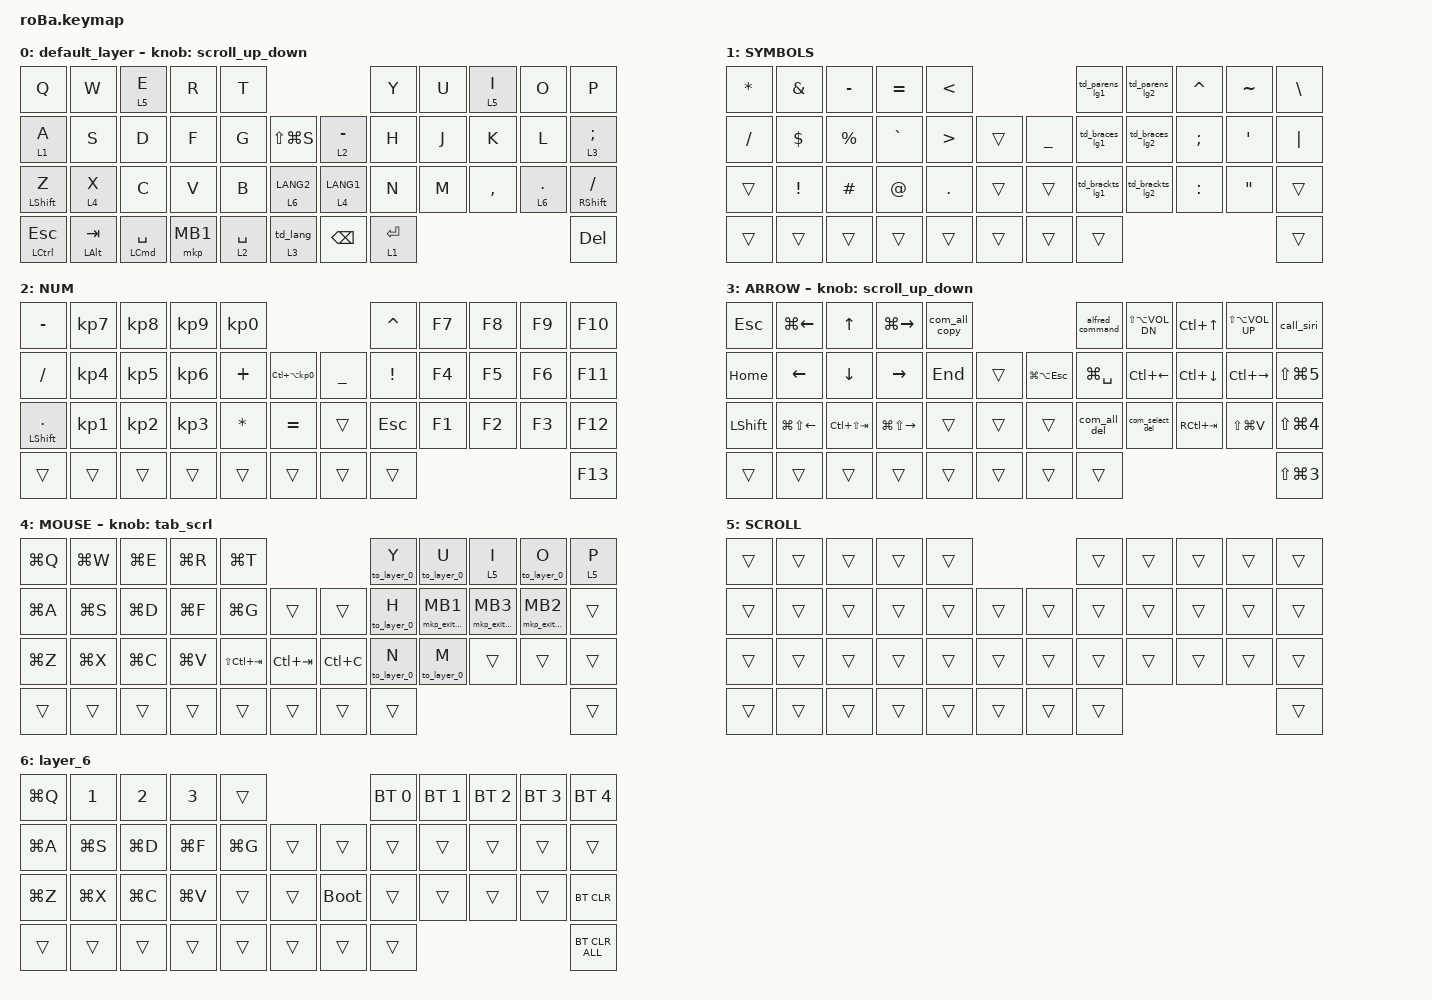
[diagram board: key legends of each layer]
#include <behaviors.dtsi>
#include <dt-bindings/zmk/bt.h>
#include <dt-bindings/zmk/keys.h>
#include <dt-bindings/zmk/pointing.h>

#define ZMK_POINTING_DEFAULT_SCRL_VAL 100
#define ZMK_MOUSE_DEFAULT_MOVE_VAL 3000 // 数値を大きくすると速くなる{あまり効果ないかも}

&mt {
    flavor = "balanced";
    quick-tap-ms = <0>;
};

&trackball {
    automouse-layer = <4>;
    scroll-layers = <5>;

    // arrows {
    //     layers = <3>;
    //     bindings =
    //         <&kp RIGHT_ARROW>,
    //         <&kp LEFT_ARROW>,
    //         <&kp UP_ARROW>,
    //         <&kp DOWN_ARROW>;
    //     tick = <10>;
    //     wait-ms = <5>;
    //     tap-ms = <5>;
    // };
};

/ {
    combos {
        compatible = "zmk,combos";

        tab {
            bindings = <&kp TAB>;
            key-positions = <11 12>;
        };

        shift_tab {
            bindings = <&kp LS(TAB)>;
            key-positions = <12 13>;
        };

        eq {
            bindings = <&kp EQUAL>;
            key-positions = <24 25>;
        };

        esc {
            bindings = <&kp ESC>;
            key-positions = <23 24>;
        };

        capslock {
            bindings = <&caps_word>;
            key-positions = <22 33>;
        };

        up_arrow {
            bindings = <&kp UP_ARROW>;
            key-positions = <6 7>;
        };

        down_arrow {
            bindings = <&kp DOWN_ARROW>;
            key-positions = <18 19>;
        };

        left_arrow {
            bindings = <&kp LEFT_ARROW>;
            key-positions = <17 18>;
        };

        right_arrow {
            bindings = <&kp RIGHT_ARROW>;
            key-positions = <19 20>;
        };

        next_tab {
            bindings = <&kp RC(TAB)>;
            key-positions = <32 31>;
        };

        prev_tab {
            bindings = <&kp LC(LS(TAB))>;
            key-positions = <30 29>;
        };
    };

    macros {
        to_layer_0: to_layer_0 {
            compatible = "zmk,behavior-macro-one-param";
            #binding-cells = <1>;
            bindings = <&to 0 &macro_param_1to1 &kp MACRO_PLACEHOLDER>;
            label = "TO_LAYER_0";
        };

        mkp_exit_AML: mkp_exit_AML {
            compatible = "zmk,behavior-macro-one-param";
            #binding-cells = <1>;
            bindings =
                <&macro_press>,
                <&macro_param_1to1 &mkp MACRO_PLACEHOLDER>,
                <&macro_pause_for_release>,
                <&macro_release>,
                <&macro_param_1to1 &mkp MACRO_PLACEHOLDER>,
                <&macro_tap>,
                <&sl 4>;

            label = "MKP_EXIT_AML";
        };

        alfred_command: alfred_command {
            compatible = "zmk,behavior-macro";
            #binding-cells = <0>;
            bindings =
                <&kp RIGHT_COMMAND>,
                <&macro_wait_time 10>,
                <&kp RIGHT_COMMAND>;

            label = "ALFRED_COMMAND";
        };

        com_all_copy: com_all_copy {
            compatible = "zmk,behavior-macro";
            #binding-cells = <0>;
            bindings = <&kp LG(A)>, <&macro_wait_time 10>, <&kp LG(C)>;

            label = "COM_ALL_COPY";
        };

        com_all_del: com_all_del {
            compatible = "zmk,behavior-macro";
            #binding-cells = <0>;
            bindings = <&kp LG(A)>, <&macro_wait_time 10>, <&kp BACKSPACE>;

            label = "COM_ALL_DEL";
        };

        com_select_del: com_select_del {
            compatible = "zmk,behavior-macro";
            #binding-cells = <0>;
            bindings = <&shift_lclick>, <&macro_wait_time 100>, <&kp DELETE>;

            label = "COM_SELECT_DEL";
        };

        shift_lclick: shift_lclick {
            compatible = "zmk,behavior-macro";
            #binding-cells = <0>;
            bindings =
                <&macro_press>,
                <&kp LSHFT>,
                <&macro_press>,
                <&mkp LCLK>,
                <&macro_wait_time 50>,
                <&macro_release>,
                <&mkp LCLK>,
                <&macro_release>,
                <&kp LSHFT>;
        };

        call_siri: call_siri {
            compatible = "zmk,behavior-macro";
            #binding-cells = <0>;
            bindings = <&kp LEFT_COMMAND &kp LEFT_COMMAND>;
            label = "CALL_SIRI";
        };

        ctrl_space: ctrl_space {
            compatible = "zmk,behavior-macro";
            #binding-cells = <0>;
            bindings =
                <&macro_press>,
                <&kp LEFT_CONTROL>,
                <&macro_wait_time 10>,
                <&macro_press>,
                <&kp SPACE>,
                <&macro_wait_time 10>,
                <&macro_release>,
                <&kp LEFT_CONTROL>,
                <&macro_wait_time 10>,
                <&macro_release>,
                <&kp SPACE>,
                <&macro_wait_time 10>;

            label = "CTRL_SPACE";
        };

        // カッコを開いて閉じて、カーソルを中に戻すマクロ
        // カッコの文字（ ()or{}or[] ）は引数とする
        mc_brackets_lg1: macro_brackets_lang1 {
            compatible = "zmk,behavior-macro-two-param";
            #binding-cells = <2>;
            wait-ms = <0>;
            tap-ms = <0>;
            bindings
                = <&kp LANG1>                                // まず確実に日本語入力（かな）にする
                , <&macro_param_1to1 &kp MACRO_PLACEHOLDER>  // 2文字目（第1引数）
                , <&macro_param_2to1 &kp MACRO_PLACEHOLDER>  // 3文字目（第2引数）
                , <&kp RC(M)>                                // 入力した文字を確定させる
                , <&kp LEFT>                                 // カーソルを入力した2文字の真ん中に戻す
                ;
        };

        // カッコを開いて閉じて、カーソルを中に戻すマクロ
        // カッコの文字（ ()or{}or[] ）は引数とする
        mc_brackets_lg2: macro_brackets_lang2 {
            compatible = "zmk,behavior-macro-two-param";
            #binding-cells = <2>;
            wait-ms = <0>;
            tap-ms = <0>;
            bindings
                = <&kp LANG2>                                // まず確実に英数入力にする
                , <&macro_param_1to1 &kp MACRO_PLACEHOLDER>  // 2文字目（第1引数）
                , <&macro_param_2to1 &kp MACRO_PLACEHOLDER>  // 3文字目（第2引数）
              //, <&kp RC(M)>                                // 入力した文字を確定させる
                , <&kp LEFT>                                 // カーソルを入力した2文字の真ん中に戻す
                ;
        };

        // 2つの引数を順番に入力するマクロ
        tap_two: tap_two {
            compatible = "zmk,behavior-macro-two-param";
            #binding-cells = <2>; // 引数を2つ受け取る設定
            tap-ms = <30>;        // キーを押している時間
            wait-ms = <30>;       // キー入力間の待ち時間
            bindings
                // 1つ目の引数（パラメータ1）を &kp に渡して入力
                = <&macro_param_1to1 &kp MACRO_PLACEHOLDER>
                // 2つ目の引数（パラメータ2）を &kp に渡して入力
                , <&macro_param_2to1 &kp MACRO_PLACEHOLDER>
                ;
        };

        // 2つの引数を順番に入力するマクロ（enter入力あり）
        tap_two_ent: tap_two_enter {
            compatible = "zmk,behavior-macro-two-param";
            #binding-cells = <2>; // 引数を2つ受け取る設定
            tap-ms = <30>;        // キーを押している時間
            wait-ms = <30>;       // キー入力間の待ち時間
            bindings
                // 1つ目の引数（パラメータ1）を &kp に渡して入力
                = <&macro_param_1to1 &kp MACRO_PLACEHOLDER>
                // 2つ目の引数（パラメータ2）を &kp に渡して入力
                , <&macro_param_2to1 &kp MACRO_PLACEHOLDER>
                // 入力した文字を確定させる
                , <&kp RC(M)>
                ;
        };
    };

    behaviors {
        lt_to_layer_0: lt_to_layer_0 {
            compatible = "zmk,behavior-hold-tap";
            label = "LAYER_TAP_TO_0";
            bindings = <&mo>, <&to_layer_0>;

            #binding-cells = <2>;
            tapping-term-ms = <200>;
        };

        scroll_up_down: behavior_sensor_rotate_mouuse_wheel_up_down {
            compatible = "zmk,behavior-sensor-rotate";
            #sensor-binding-cells = <0>;
            bindings = <&msc SCRL_DOWN>, <&msc SCRL_UP>;

            tap-ms = <20>;
        };

        hm_layer: hold_tap_layer {
            compatible = "zmk,behavior-hold-tap";
            #binding-cells = <2>;
            flavor = "tap-preferred";
            tapping-term-ms = <200>; // 長押し判定のミリ秒
            bindings = <&mo>, <&ctrl_space>;

            // 長押しでレイヤー(mo), タップでマクロ
        };

        td_layer: tap_dance_layer {
            compatible = "zmk,behavior-tap-dance";
            #binding-cells = <0>;
            tapping-term-ms = <200>;
            bindings = <&ctrl_space>, <&mo 3>;

            // 1タップでマクロ、長押しでレイヤー3
        };

        // 1. 1回タップと2回タップを判別する「Tap Dance」の定義

        td_lang: tap_dance_lang {
            compatible = "zmk,behavior-tap-dance";
            #binding-cells = <0>;
            tapping-term-ms = <400>; // 連打を判定する時間（ミリ秒）
            bindings = <&kp LANG2>, <&kp LANG1>;

            // 1回目でLANG2、2回目でLANG1
        };

        // タップ回数による分岐（1回でZ、2回でCapsLock）の設定

        td_z_caps: td_z_caps {
            compatible = "zmk,behavior-tap-dance";
            #binding-cells = <0>;
            tapping-term-ms = <400>;     // 2回目のタップを待つ猶予時間（ミリ秒）
            bindings = <&kp Z>, <&kp CAPSLOCK>;
        };

        // タップ回数による分岐（1回でSLASH、2回でCapsLock）の設定

        td_sl_caps: td_sl_caps {
            compatible = "zmk,behavior-tap-dance";
            #binding-cells = <0>;
            tapping-term-ms = <400>;     // 2回目のタップを待つ猶予時間（ミリ秒）
            bindings = <&kp SLASH>, <&kp CAPSLOCK>;
        };

        // 2. ホールドとタップ（上記Tap Dance）を組み合わせる「Hold-Tap」の定義

        hp_layer_lang: hold_tap_layer_lang {
            compatible = "zmk,behavior-hold-tap";
            #binding-cells = <2>;
            flavor = "hold-preferred";
            tapping-term-ms = <200>; // ホールドと判定する時間（ミリ秒）
            bindings = <&mo>, <&td_lang>;

            // ホールドでレイヤー、タップで①のTap Danceを呼び出す
        };

        // ホールドでShift、タップでTap Dance（1回でZ、2回でCapsLock）を実行する設定

        hp_z_shft_caps: z_shft_caps {
            compatible = "zmk,behavior-hold-tap";
            #binding-cells = <2>;
            flavor = "balanced";
            tapping-term-ms = <200>;     // ホールド判定になるまでの時間（ミリ秒）
            bindings = <&kp>, <&td_z_caps>;
        };

        // ホールドでShift、タップでTap Dance（1回でSLASH、2回でCapsLock）を実行する設定

        hp_sl_shft_caps: sl_shft_caps {
            compatible = "zmk,behavior-hold-tap";
            #binding-cells = <2>;
            flavor = "balanced";
            tapping-term-ms = <200>;     // ホールド判定になるまでの時間（ミリ秒）
            bindings = <&kp>, <&td_sl_caps>;
        };

        tab_scrl: tab_scroll_behavior {
            compatible = "zmk,behavior-sensor-rotate";
            #sensor-binding-cells = <0>;

            // 左回し(上)で前へ、右回し(下)で次へ

            bindings = <&kp LC(LS(TAB))>, <&kp LC(TAB)>;

            // トラックボールの回転が速い場合はtap-msを調整

            tap-ms = <10>;
        };

        // 1回タップ時に左カッコ、2回タップ時に右カッコ、3回タップ時にカッコを開いて閉じてカーソルを中に戻すマクロ
        td_parens_lg1: td_parens_lang1 {
            compatible = "zmk,behavior-tap-dance";
            #binding-cells = <0>;
            tapping-term-ms = <400>; // タップを判定する制限時間（ミリ秒）
            bindings = <&tap_two_ent LANG1 LPAR>, <&tap_two_ent LANG1 RPAR>, <&mc_brackets_lg1 LPAR RPAR>;
        };

        // 1回タップ時に左カッコ、2回タップ時に右カッコ、3回タップ時にカッコを開いて閉じてカーソルを中に戻すマクロ
        td_parens_lg2: td_parens_lang2 {
            compatible = "zmk,behavior-tap-dance";
            #binding-cells = <0>;
            tapping-term-ms = <400>; // タップを判定する制限時間（ミリ秒）
            bindings = <&tap_two LANG2 LPAR>, <&tap_two LANG2 RPAR>, <&mc_brackets_lg2 LPAR RPAR>;
        };

        // 1回タップ時に左カッコ、2回タップ時に右カッコ、3回タップ時にカッコを開いて閉じてカーソルを中に戻すマクロ
        td_braces_lg1: td_braces_lang1 {
            compatible = "zmk,behavior-tap-dance";
            #binding-cells = <0>;
            tapping-term-ms = <400>; // タップを判定する制限時間（ミリ秒）
            bindings = <&tap_two_ent LANG1 LBRC>, <&tap_two_ent LANG1 RBRC>, <&mc_brackets_lg1 LBRC RBRC>;
        };

        // 1回タップ時に左カッコ、2回タップ時に右カッコ、3回タップ時にカッコを開いて閉じてカーソルを中に戻すマクロ
        td_braces_lg2: td_braces_lang2 {
            compatible = "zmk,behavior-tap-dance";
            #binding-cells = <0>;
            tapping-term-ms = <400>; // タップを判定する制限時間（ミリ秒）
            bindings = <&tap_two LANG2 LBRC>, <&tap_two LANG2 RBRC>, <&mc_brackets_lg2 LBRC RBRC>;
        };

        // 1回タップ時に左カッコ、2回タップ時に右カッコ、3回タップ時にカッコを開いて閉じてカーソルを中に戻すマクロ
        td_brackts_lg1: td_brackts_lang1 {
            compatible = "zmk,behavior-tap-dance";
            #binding-cells = <0>;
            tapping-term-ms = <400>; // タップを判定する制限時間（ミリ秒）
            bindings = <&tap_two_ent LANG1 LBKT>, <&tap_two_ent LANG1 RBKT>, <&mc_brackets_lg1 LBKT RBKT>;
        };

        // 1回タップ時に左カッコ、2回タップ時に右カッコ、3回タップ時にカッコを開いて閉じてカーソルを中に戻すマクロ
        td_brackts_lg2: td_brackts_lang2 {
            compatible = "zmk,behavior-tap-dance";
            #binding-cells = <0>;
            tapping-term-ms = <400>; // タップを判定する制限時間（ミリ秒）
            bindings = <&tap_two LANG2 LBKT>, <&tap_two LANG2 RBKT>, <&mc_brackets_lg2 LBKT RBKT>;
        };
    };

    keymap {
        compatible = "zmk,keymap";

        default_layer {
            bindings = <
&kp Q          &kp W             &lt 5 E                 &kp R     &kp T                                               &kp Y        &kp U  &lt 5 I    &kp O         &kp P
&lt 1 A        &kp S             &kp D                   &kp F     &kp G        &kp LS(LG(S))           &lt 2 MINUS    &kp H        &kp J  &kp K      &kp L         &lt 3 SEMICOLON
&mt LSHFT Z    &lt 4 X           &kp C                   &kp V     &kp B        &lt 6 LANG2             &lt 4 LANG1    &kp N        &kp M  &kp COMMA  &lt 6 PERIOD  &mt RSHFT SLASH
&mt LCTRL ESC  &mt LEFT_ALT TAB  &mt LEFT_COMMAND SPACE  &mkp MB1  &lt 2 SPACE  &hp_layer_lang 3 0      &kp BACKSPACE  &lt 1 ENTER                                  &kp DEL
            >;

            sensor-bindings = <&scroll_up_down>;
        };

        SYMBOLS {
            bindings = <
&kp ASTRK  &kp AMPS  &kp MINUS  &kp EQUAL  &kp LT                                  &td_parens_lg1  &td_parens_lg2  &kp CARET      &kp TILDE  &kp BSLH
&kp SLASH  &kp DLLR  &kp PRCNT  &kp GRAVE  &kp GT      &trans      &kp UNDERSCORE  &td_braces_lg1  &td_braces_lg2  &kp SEMICOLON  &kp SQT    &kp PIPE
&trans     &kp EXCL  &kp HASH   &kp AT     &kp PERIOD  &trans      &trans          &td_brackts_lg1 &td_brackts_lg2 &kp COLON      &kp DQT    &trans
&trans     &trans    &trans     &trans     &trans      &trans      &trans          &trans                                                    &trans
            >;
        };

        NUM {
            bindings = <
&kp MINUS              &kp KP_NUMBER_7  &kp KP_NUMBER_8  &kp KP_NUMBER_9  &kp KP_NUMBER_0                                               &kp CARET        &kp F7  &kp F8  &kp F9  &kp F10
&kp SLASH              &kp KP_NUMBER_4  &kp KP_NUMBER_5  &kp KP_NUMBER_6  &kp PLUS         &kp LC(LA(KP_NUMBER_0))      &kp UNDERSCORE  &kp EXCLAMATION  &kp F4  &kp F5  &kp F6  &kp F11
&mt LEFT_SHIFT PERIOD  &kp KP_NUMBER_1  &kp KP_NUMBER_2  &kp KP_NUMBER_3  &kp ASTRK        &kp EQUAL                    &trans          &kp ESC          &kp F1  &kp F2  &kp F3  &kp F12
&trans                 &trans           &trans           &trans           &trans           &trans                       &trans          &trans                                   &kp F13
            >;
        };

        ARROW {
            bindings = <
&kp ESCAPE      &kp LG(LEFT)            &kp UP_ARROW     &kp LG(RIGHT)            &com_all_copy                               &alfred_command  &kp LS(LA(C_VOL_DN))  &kp LC(UP_ARROW)    &kp LS(LA(C_VOL_UP))  &call_siri
&kp HOME        &kp LEFT_ARROW          &kp DOWN_ARROW   &kp RIGHT_ARROW          &kp END        &trans      &kp LG(LA(ESC))  &kp LG(SPACE)    &kp LC(LEFT_ARROW)    &kp LC(DOWN_ARROW)  &kp LC(RIGHT_ARROW)   &kp LS(LG(N5))
&kp LEFT_SHIFT  &kp LG(LS(LEFT_ARROW))  &kp LC(LS(TAB))  &kp LG(LS(RIGHT_ARROW))  &trans         &trans      &trans           &com_all_del     &com_select_del       &kp RC(TAB)         &kp LS(LG(V))         &kp LS(LG(N4))
&trans          &trans                  &trans           &trans                   &trans         &trans      &trans           &trans                                                                           &kp LS(LG(N3))
            >;

            sensor-bindings = <&scroll_up_down>;
        };

        MOUSE {
            bindings = <
&kp LG(Q)  &kp LG(W)  &kp LG(E)  &kp LG(R)  &kp LG(T)                                    &to_layer_0 Y  &to_layer_0 U      &lt 5 I            &to_layer_0 O      &lt 5 P
&kp LG(A)  &kp LG(S)  &kp LG(D)  &kp LG(F)  &kp LG(G)        &trans           &trans     &to_layer_0 H  &mkp_exit_AML MB1  &mkp_exit_AML MB3  &mkp_exit_AML MB2  &trans
&kp LG(Z)  &kp LG(X)  &kp LG(C)  &kp LG(V)  &kp LS(LC(TAB))  &kp LC(TAB)      &kp LC(C)  &to_layer_0 N  &to_layer_0 M      &trans             &trans             &trans
&trans     &trans     &trans     &trans     &trans           &trans           &trans     &trans                                                                  &trans
            >;

            sensor-bindings = <&tab_scrl>;
        };

        SCROLL {
            bindings = <
&trans  &trans  &trans  &trans  &trans                      &trans  &trans  &trans  &trans  &trans
&trans  &trans  &trans  &trans  &trans  &trans      &trans  &trans  &trans  &trans  &trans  &trans
&trans  &trans  &trans  &trans  &trans  &trans      &trans  &trans  &trans  &trans  &trans  &trans
&trans  &trans  &trans  &trans  &trans  &trans      &trans  &trans                          &trans
            >;
        };

        layer_6 {
            bindings = <
&kp LG(Q)  &kp N1     &kp N2     &kp N3     &trans                              &bt BT_SEL 0  &bt BT_SEL 1  &bt BT_SEL 2  &bt BT_SEL 3  &bt BT_SEL 4
&kp LG(A)  &kp LG(S)  &kp LG(D)  &kp LG(F)  &kp LG(G)  &trans      &trans       &trans        &trans        &trans        &trans        &trans
&kp LG(Z)  &kp LG(X)  &kp LG(C)  &kp LG(V)  &trans     &trans      &bootloader  &trans        &trans        &trans        &trans        &bt BT_CLR
&trans     &trans     &trans     &trans     &trans     &trans      &trans       &trans                                                  &bt BT_CLR_ALL
            >;
        };
    };
};
